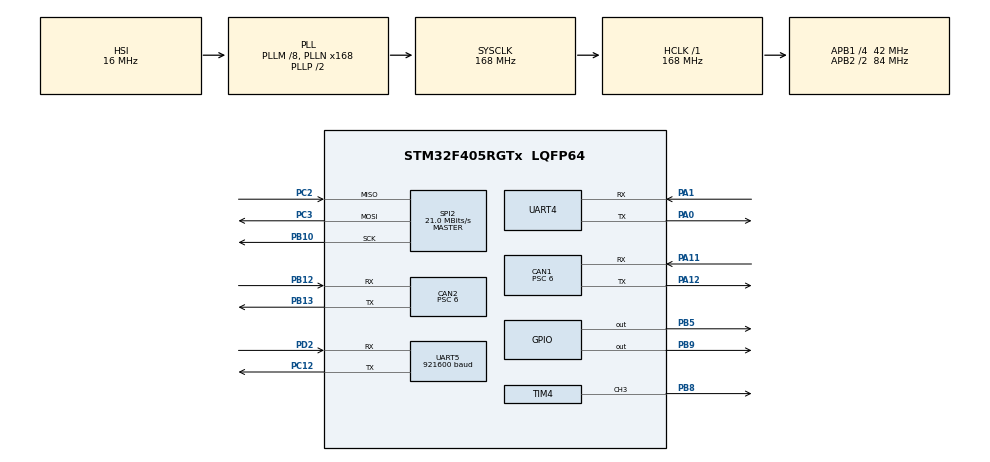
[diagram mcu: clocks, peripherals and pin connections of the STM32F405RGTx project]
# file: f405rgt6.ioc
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CAN1.ABOM=ENABLE
CAN1.AWUM=ENABLE
CAN1.BS1=CAN_BS1_3TQ
CAN1.BS2=CAN_BS2_3TQ
CAN1.CalculateBaudRate=1000000
CAN1.CalculateTimeBit=1000
CAN1.CalculateTimeQuantum=142.85714285714286
CAN1.NART=ENABLE
CAN1.Prescaler=6
CAN2.BS1=CAN_BS1_3TQ
CAN2.BS2=CAN_BS2_3TQ
CAN2.CalculateBaudRate=1000000
CAN2.CalculateTimeBit=1000
CAN2.CalculateTimeQuantum=142.85714285714286
CAN2.Prescaler=6
Dma.Request0=TIM4_CH3
Dma.TIM4_CH3.0.Direction=DMA_MEMORY_TO_PERIPH
Dma.TIM4_CH3.0.FIFOMode=DMA_FIFOMODE_DISABLE
Dma.TIM4_CH3.0.Instance=DMA1_Stream7
Dma.TIM4_CH3.0.MemDataAlignment=DMA_MDATAALIGN_HALFWORD
Dma.TIM4_CH3.0.MemInc=DMA_MINC_ENABLE
Dma.TIM4_CH3.0.Mode=DMA_NORMAL
Dma.TIM4_CH3.0.PeriphDataAlignment=DMA_PDATAALIGN_HALFWORD
Dma.TIM4_CH3.0.PeriphInc=DMA_PINC_DISABLE
Dma.TIM4_CH3.0.Priority=DMA_PRIORITY_LOW
FREERTOS.Tasks01=defaultTask,-1,512,StartDefaultTask,Default,NULL,Dynamic,NULL,NULL;myMoveToBall,0,512,StartMoveToBall,Default,NULL,Dynamic,NULL,NULL;myGetBall,0,128,StartGetBall,Default,NULL,Dynamic,NULL,NULL;myReadyGetBall,0,128,StartReadyGetBall,Default,NULL,Dynamic,NULL,NULL;myStoreBall,0,256,StartStoreBall,Default,NULL,Dynamic,NULL,NULL;mySetM567,1,128,StartSetM567,Default,NULL,Dynamic,NULL,NULL;myPutBall1,0,128,StartPutBall1,Default,NULL,Dynamic,NULL,NULL;myPutBall2,0,128,StartPutBall2,Default,NULL,Dynamic,NULL,NULL;myGetBall1,0,128,StartGetBall1,Default,NULL,Dynamic,NULL,NULL;myGetBall2,0,128,StartGetBall2,Default,NULL,Dynamic,NULL,NULL;myJudge,1,128,StartJudge,Default,NULL,Dynamic,NULL,NULL;myReadyPos1,-3,128,StartReadyPos1,Default,NULL,Dynamic,NULL,NULL;myPointRun,0,128,StartPointRun,Default,NULL,Dynamic,NULL,NULL
Mcu.Family=STM32F4
Mcu.Name=STM32F405RGTx
Mcu.Package=LQFP64
NVIC.CAN1_RX0_IRQn=true\:5\:0\:true\:false\:true\:true\:true\:true\:true
NVIC.CAN1_SCE_IRQn=true\:5\:0\:true\:false\:true\:true\:true\:true\:true
NVIC.CAN2_RX1_IRQn=true\:5\:0\:false\:false\:true\:true\:true\:true\:true
NVIC.CAN2_SCE_IRQn=true\:5\:0\:false\:false\:true\:true\:true\:true\:true
NVIC.DMA1_Stream7_IRQn=true\:5\:0\:false\:false\:true\:true\:false\:true\:true
NVIC.PriorityGroup=NVIC_PRIORITYGROUP_4
NVIC.TIM3_IRQn=true\:15\:0\:false\:false\:true\:false\:false\:true\:true
NVIC.TIM6_DAC_IRQn=true\:5\:0\:false\:false\:true\:true\:true\:true\:true
NVIC.TIM8_TRG_COM_TIM14_IRQn=true\:5\:0\:true\:false\:true\:true\:true\:true\:true
NVIC.TIM8_UP_TIM13_IRQn=true\:5\:0\:false\:false\:true\:true\:true\:true\:true
NVIC.TimeBase=TIM3_IRQn
NVIC.TimeBaseIP=TIM3
NVIC.UART4_IRQn=true\:5\:0\:false\:false\:true\:true\:true\:true\:true
NVIC.UART5_IRQn=true\:5\:0\:false\:false\:true\:true\:true\:true\:true
PA0-WKUP.Mode=Asynchronous
PA0-WKUP.Signal=UART4_TX
PA1.Mode=Asynchronous
PA1.Signal=UART4_RX
PA11.Mode=CAN_Activate
PA11.Signal=CAN1_RX
PA12.Mode=CAN_Activate
PA12.Signal=CAN1_TX
PA13.Mode=Serial_Wire
PA13.Signal=SYS_JTMS-SWDIO
PA14.Mode=Serial_Wire
PA14.Signal=SYS_JTCK-SWCLK
PB10.Mode=Full_Duplex_Master
PB10.Signal=SPI2_SCK
PB12.Mode=CAN_Activate
PB12.Signal=CAN2_RX
PB13.Mode=CAN_Activate
PB13.Signal=CAN2_TX
PB5.Signal=GPIO_Output
PB8.Signal=S_TIM4_CH3
PB9.Signal=GPIO_Output
PC12.Mode=Asynchronous
PC12.Signal=UART5_TX
PC14-OSC32_IN.Mode=LSE-External-Oscillator
PC14-OSC32_IN.Signal=RCC_OSC32_IN
PC15-OSC32_OUT.Mode=LSE-External-Oscillator
PC15-OSC32_OUT.Signal=RCC_OSC32_OUT
PC2.Mode=Full_Duplex_Master
PC2.Signal=SPI2_MISO
PC3.Mode=Full_Duplex_Master
PC3.Signal=SPI2_MOSI
PD2.Mode=Asynchronous
PD2.Signal=UART5_RX
PH0-OSC_IN.Mode=HSE-External-Oscillator
PH0-OSC_IN.Signal=RCC_OSC_IN
PH1-OSC_OUT.Mode=HSE-External-Oscillator
PH1-OSC_OUT.Signal=RCC_OSC_OUT
ProjectManager.HeapSize=0x200
ProjectManager.StackSize=0x400
ProjectManager.TargetToolchain=MDK-ARM V5.32
RCC.48MHZClocksFreq_Value=84000000
RCC.AHBFreq_Value=168000000
RCC.APB1CLKDivider=RCC_HCLK_DIV4
RCC.APB1Freq_Value=42000000
RCC.APB1TimFreq_Value=84000000
RCC.APB2CLKDivider=RCC_HCLK_DIV2
RCC.APB2Freq_Value=84000000
RCC.APB2TimFreq_Value=168000000
RCC.CortexFreq_Value=168000000
RCC.HCLKFreq_Value=168000000
RCC.HSE_VALUE=25000000
RCC.HSI_VALUE=16000000
RCC.PLLM=8
RCC.PLLN=168
RCC.SYSCLKFreq_VALUE=168000000
RCC.SYSCLKSource=RCC_SYSCLKSOURCE_PLLCLK
RCC.VCOOutputFreq_Value=336000000
SH.S_TIM4_CH3.0=TIM4_CH3,PWM Generation3 CH3
SPI2.CalculateBaudRate=21.0 MBits/s
SPI2.Direction=SPI_DIRECTION_2LINES
SPI2.Mode=SPI_MODE_MASTER
SPI2.VirtualType=VM_MASTER
TIM13.Period=800
TIM13.Prescaler=42-1
TIM14.Period=300
TIM14.Prescaler=42-1
TIM4.Channel-PWM\ Generation3\ CH3=TIM_CHANNEL_3
TIM4.Period=105-1
UART4.VirtualMode=Asynchronous
UART5.BaudRate=921600
UART5.VirtualMode=Asynchronous
VP_FREERTOS_VS_CMSIS_V1.Mode=CMSIS_V1
VP_SYS_VS_tim3.Mode=TIM3
VP_TIM13_VS_ClockSourceINT.Mode=Enable_Timer
VP_TIM14_VS_ClockSourceINT.Mode=Enable_Timer
VP_TIM4_VS_ClockSourceINT.Mode=Internal
VP_TIM6_VS_ClockSourceINT.Mode=Enable_Timer
board=custom

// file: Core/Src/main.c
/* USER CODE BEGIN Header */
/**
  ******************************************************************************
  * @file           : main.c
  * @brief          : Main program body
  ******************************************************************************
  * @attention
  *
  * Copyright (c) 2024 STMicroelectronics.
  * All rights reserved.
  *
  * This software is licensed under terms that can be found in the LICENSE file
  * in the root directory of this software component.
  * If no LICENSE file comes with this software, it is provided AS-IS.
  *
  ******************************************************************************
  */
/* USER CODE END Header */
#include "main.h"
#include "cmsis_os.h"
#include "can.h"
#include "dma.h"
#include "spi.h"
#include "tim.h"
#include "usart.h"
#include "gpio.h"

/* USER CODE BEGIN Includes */
#include "mySerial.h"
#include "can_bsp.h"
#include "mycan_init.h"
#include "RM3508.h"
#include "rgb.h"
#include "ICM42688.h"
#include "Mecanum_wheel.h"
/* USER CODE END Includes */

void SystemClock_Config(void);
void MX_FREERTOS_Init(void);

int main(void)
{

  /* MCU Configuration--------------------------------------------------------*/

  /* Reset of all peripherals, Initializes the Flash interface and the Systick. */
  HAL_Init();

  /* Configure the system clock */
  SystemClock_Config();

  /* Initialize all configured peripherals */
  MX_GPIO_Init();
  MX_DMA_Init();
  MX_CAN1_Init();
  MX_CAN2_Init();
  MX_TIM14_Init();
  MX_TIM4_Init();
  MX_TIM6_Init();
  MX_UART5_Init();
  MX_UART4_Init();
  MX_SPI2_Init();
  MX_TIM13_Init();
  /* USER CODE BEGIN 2 */

//	printf("+++");
//	HAL_Delay(200);
//	printf("AT+CWMODE_DEF=2\r\n");
//	HAL_Delay(200);
//	printf("AT+CIPAP_DEF=\"192.168.111.111\"\r\n");
//	HAL_Delay(200);
//	printf("AT+CWSAP_DEF=\"ThingIsnotGroup\",\"11111111\",1,4\r\n");
//	HAL_Delay(200);
//	printf("AT+RFPOWER=100\r\n");
//	HAL_Delay(200);
//	printf("AT+SAVETRANSLINK=1,\"192.168.111.255\",8000,\"UDP\",8000\r\n");
//	HAL_Delay(200);
//	printf("AT+RST\r\n");
//	HAL_Delay(200);

	CAN_Init(&hcan1);
	CAN_Init(&hcan2);

	HAL_TIM_Base_Start_IT(&htim6);
	mySerial_Init();

	Test_Self_RGB();
//	printf("ready\n");

  /* USER CODE END 2 */

  /* Call init function for freertos objects (in freertos.c) */
  MX_FREERTOS_Init();

  /* Start scheduler */
  osKernelStart();

  /* We should never get here as control is now taken by the scheduler */
  /* Infinite loop */
  while (1)
  {

    /* USER CODE BEGIN 3 */

//		printf("speed,pos:%d,%d\n", RM3508_Get_Speed(1), RM3508_Get_Pos(1));
//		HAL_Delay(3);
//		ArrangeSerialList();

  }
  /* USER CODE END 3 */
}

void SystemClock_Config(void)
{
  RCC_OscInitTypeDef RCC_OscInitStruct = {0};
  RCC_ClkInitTypeDef RCC_ClkInitStruct = {0};

  /** Configure the main internal regulator output voltage
  */
  __HAL_RCC_PWR_CLK_ENABLE();
  __HAL_PWR_VOLTAGESCALING_CONFIG(PWR_REGULATOR_VOLTAGE_SCALE1);

  /** Initializes the RCC Oscillators according to the specified parameters
  * in the RCC_OscInitTypeDef structure.
  */
  RCC_OscInitStruct.OscillatorType = RCC_OSCILLATORTYPE_HSI;
  RCC_OscInitStruct.HSIState = RCC_HSI_ON;
  RCC_OscInitStruct.HSICalibrationValue = RCC_HSICALIBRATION_DEFAULT;
  RCC_OscInitStruct.PLL.PLLState = RCC_PLL_ON;
  RCC_OscInitStruct.PLL.PLLSource = RCC_PLLSOURCE_HSI;
  RCC_OscInitStruct.PLL.PLLM = 8;
  RCC_OscInitStruct.PLL.PLLN = 168;
  RCC_OscInitStruct.PLL.PLLP = RCC_PLLP_DIV2;
  RCC_OscInitStruct.PLL.PLLQ = 4;
  if (HAL_RCC_OscConfig(&RCC_OscInitStruct) != HAL_OK)
  {
    Error_Handler();
  }

  /** Initializes the CPU, AHB and APB buses clocks
  */
  RCC_ClkInitStruct.ClockType = RCC_CLOCKTYPE_HCLK|RCC_CLOCKTYPE_SYSCLK
                              |RCC_CLOCKTYPE_PCLK1|RCC_CLOCKTYPE_PCLK2;
  RCC_ClkInitStruct.SYSCLKSource = RCC_SYSCLKSOURCE_PLLCLK;
  RCC_ClkInitStruct.AHBCLKDivider = RCC_SYSCLK_DIV1;
  RCC_ClkInitStruct.APB1CLKDivider = RCC_HCLK_DIV4;
  RCC_ClkInitStruct.APB2CLKDivider = RCC_HCLK_DIV2;

  if (HAL_RCC_ClockConfig(&RCC_ClkInitStruct, FLASH_LATENCY_5) != HAL_OK)
  {
    Error_Handler();
  }
}

void HAL_TIM_PeriodElapsedCallback(TIM_HandleTypeDef *htim)
{
  if (htim->Instance == TIM3) {
    HAL_IncTick();
  }
  /* USER CODE BEGIN Callback 1 */

	Serial_TIM_Period_Callback(htim);

  /* USER CODE END Callback 1 */
}

void Error_Handler(void)
{
  __disable_irq();
  while (1)
  {
  }
}

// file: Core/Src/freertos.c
/* USER CODE BEGIN Header */
/**
  ******************************************************************************
  * File Name          : freertos.c
  * Description        : Code for freertos applications
  ******************************************************************************
  * @attention
  *
  * Copyright (c) 2024 STMicroelectronics.
  * All rights reserved.
  *
  * This software is licensed under terms that can be found in the LICENSE file
  * in the root directory of this software component.
  * If no LICENSE file comes with this software, it is provided AS-IS.
  *
  ******************************************************************************
  */
/* USER CODE END Header */

#include "FreeRTOS.h"
#include "task.h"
#include "main.h"
#include "cmsis_os.h"

/* USER CODE BEGIN Includes */
#include "mySerial.h"
#include "can_bsp.h"
#include "mycan_init.h"
#include "RM3508.h"
#include "rgb.h"
#include "ICM42688.h"
#include "Mecanum_wheel.h"
#include "arm_control.h"
#include "point_control.h"
//#include "TFminiPlus.h"
#include "run.h"
#include "math.h"

#include "tim.h"
/* USER CODE END Includes */

osThreadId defaultTaskHandle;
osThreadId myMoveToBallHandle;
osThreadId myGetBallHandle;
osThreadId myReadyGetBallHandle;
osThreadId myStoreBallHandle;
osThreadId mySetM567Handle;
osThreadId myPutBall1Handle;
osThreadId myPutBall2Handle;
osThreadId myGetBall1Handle;
osThreadId myGetBall2Handle;
osThreadId myJudgeHandle;
osThreadId myReadyPos1Handle;
osThreadId myPointRunHandle;

void StartDefaultTask(void const * argument);
void StartMoveToBall(void const * argument);
void StartGetBall(void const * argument);
void StartReadyGetBall(void const * argument);
void StartStoreBall(void const * argument);
void StartSetM567(void const * argument);
void StartPutBall1(void const * argument);
void StartPutBall2(void const * argument);
void StartGetBall1(void const * argument);
void StartGetBall2(void const * argument);
void StartJudge(void const * argument);
void StartReadyPos1(void const * argument);
void StartPointRun(void const * argument);

void MX_FREERTOS_Init(void); /* (MISRA C 2004 rule 8.1) */

/* GetIdleTaskMemory prototype (linked to static allocation support) */
void vApplicationGetIdleTaskMemory( StaticTask_t **ppxIdleTaskTCBBuffer, StackType_t **ppxIdleTaskStackBuffer, uint32_t *pulIdleTaskStackSize );

/* USER CODE BEGIN GET_IDLE_TASK_MEMORY */
static StaticTask_t xIdleTaskTCBBuffer;
static StackType_t xIdleStack[configMINIMAL_STACK_SIZE];

void vApplicationGetIdleTaskMemory( StaticTask_t **ppxIdleTaskTCBBuffer, StackType_t **ppxIdleTaskStackBuffer, uint32_t *pulIdleTaskStackSize )
{
  *ppxIdleTaskTCBBuffer = &xIdleTaskTCBBuffer;
  *ppxIdleTaskStackBuffer = &xIdleStack[0];
  *pulIdleTaskStackSize = configMINIMAL_STACK_SIZE;
  /* place for user code */
}
/* USER CODE END GET_IDLE_TASK_MEMORY */

void MX_FREERTOS_Init(void) {

  /* Create the thread(s) */
  /* definition and creation of defaultTask */
  osThreadDef(defaultTask, StartDefaultTask, osPriorityBelowNormal, 0, 512);
  defaultTaskHandle = osThreadCreate(osThread(defaultTask), NULL);

  /* definition and creation of myMoveToBall */
  osThreadDef(myMoveToBall, StartMoveToBall, osPriorityNormal, 0, 512);
  myMoveToBallHandle = osThreadCreate(osThread(myMoveToBall), NULL);

  /* definition and creation of myGetBall */
  osThreadDef(myGetBall, StartGetBall, osPriorityNormal, 0, 128);
  myGetBallHandle = osThreadCreate(osThread(myGetBall), NULL);

  /* definition and creation of myReadyGetBall */
  osThreadDef(myReadyGetBall, StartReadyGetBall, osPriorityNormal, 0, 128);
  myReadyGetBallHandle = osThreadCreate(osThread(myReadyGetBall), NULL);

  /* definition and creation of myStoreBall */
  osThreadDef(myStoreBall, StartStoreBall, osPriorityNormal, 0, 256);
  myStoreBallHandle = osThreadCreate(osThread(myStoreBall), NULL);

  /* definition and creation of mySetM567 */
  osThreadDef(mySetM567, StartSetM567, osPriorityAboveNormal, 0, 128);
  mySetM567Handle = osThreadCreate(osThread(mySetM567), NULL);

  /* definition and creation of myPutBall1 */
  osThreadDef(myPutBall1, StartPutBall1, osPriorityNormal, 0, 128);
  myPutBall1Handle = osThreadCreate(osThread(myPutBall1), NULL);

  /* definition and creation of myPutBall2 */
  osThreadDef(myPutBall2, StartPutBall2, osPriorityNormal, 0, 128);
  myPutBall2Handle = osThreadCreate(osThread(myPutBall2), NULL);

  /* definition and creation of myGetBall1 */
  osThreadDef(myGetBall1, StartGetBall1, osPriorityNormal, 0, 128);
  myGetBall1Handle = osThreadCreate(osThread(myGetBall1), NULL);

  /* definition and creation of myGetBall2 */
  osThreadDef(myGetBall2, StartGetBall2, osPriorityNormal, 0, 128);
  myGetBall2Handle = osThreadCreate(osThread(myGetBall2), NULL);

  /* definition and creation of myJudge */
  osThreadDef(myJudge, StartJudge, osPriorityAboveNormal, 0, 128);
  myJudgeHandle = osThreadCreate(osThread(myJudge), NULL);

  /* definition and creation of myReadyPos1 */
  osThreadDef(myReadyPos1, StartReadyPos1, osPriorityIdle, 0, 128);
  myReadyPos1Handle = osThreadCreate(osThread(myReadyPos1), NULL);

  /* definition and creation of myPointRun */
  osThreadDef(myPointRun, StartPointRun, osPriorityNormal, 0, 128);
  myPointRunHandle = osThreadCreate(osThread(myPointRun), NULL);

}

void StartDefaultTask(void const * argument)
{
  /* USER CODE BEGIN StartDefaultTask */
//	vTaskSuspend(defaultTaskHandle); //测试用暂停，正式记得注释
	double start_m[3];	//巡线起始位置
	double target_m[3]; //巡线结束位置

  /* Infinite loop */
  for(;;)
  {
		//底盘标志判断
		if(mode_flag == TYPICAL && point_flag == 0)
		{
			input_motion(move_row, move_pitch, around_row);
		}
		else if(mode_flag == TEST)
		{
			triangle();
			mode_flag = TYPICAL;
		}
		else if(mode_flag == LEFT)
		{
			area_flag = LEFT;
			arm_flag = ARM_NORMAL;
			printf("%c%c%c",SRART_CHAR1, 0x01, END_CHAR);
			osDelay(100);
			printf("%c%c%c",SRART_CHAR2, 0x01, END_CHAR);
			osDelay(100);
			start_left(); //左场启动
//			Mec_Delay(2000);
			vTaskResume(myReadyGetBallHandle); //机器臂启动运行到预备夹球位置
			vTaskResume(myMoveToBallHandle);

			//开始沿线走代码
			start_m[0] = 3.85;start_m[1] = 0.78;start_m[2] = 0;	//巡线起始位置
			target_m[0] = 0.74;target_m[1] = 0.78;target_m[2] = 0;	//巡线结束位置
			current_target_m_main[0] = start_m[0];
			current_target_m_main[1] = start_m[1];
			while(1)
			{
				if(move_from_to(start_m, target_m, 0.003, current_target_m_main)) break;
				if(mode_flag == TYPICAL) break;	//手动切出
				if(ball_cnt == 6 && go_get_ball == 0) break; //球取完退出
				osDelay(1);
			}
			if(mode_flag != TYPICAL && ball_cnt < 6) //没收到最后一个球的信息就把最后一个球夹走
			{
				osDelay(10);
				while(arm_mode != READY) osDelay(10);
				osDelay(10);
				arm_mode = BUSY; //此时还没夹到球
				vTaskResume(myGetBallHandle);
				osDelay(10);
				while(arm_mode == BUSY) osDelay(10); //等待夹到球
			}
			mode_flag = TYPICAL;
			vTaskSuspend(myMoveToBallHandle);
		}
		else if(mode_flag == RIGHT)
		{
			area_flag = RIGHT;
			arm_flag = ARM_NORMAL;
			printf("%c%c%c",SRART_CHAR1, 0x00, END_CHAR);
			osDelay(100);
			printf("%c%c%c",SRART_CHAR2, 0x01, END_CHAR);
			osDelay(100);
			start_right(); //右场启动
			vTaskResume(myReadyGetBallHandle); //机器臂启动运行到预备夹球位置
			vTaskResume(myMoveToBallHandle);

			start_m[0] = 1.63;start_m[1] = 0.78;start_m[2] = 0;	//巡线起始位置
			target_m[0] = 4.88;target_m[1] = 0.78;target_m[2] = 0;	//巡线结束位置
			current_target_m_main[0] = start_m[0];
			current_target_m_main[1] = start_m[1];
			while(1)
			{
				if(move_from_to(start_m, target_m, 0.003, current_target_m_main)) break;
				if(mode_flag == TYPICAL) break;		//手动切出
				if(ball_cnt == 6 && go_get_ball == 0) break; //球取完退出
				osDelay(1);
			}
			if(mode_flag != TYPICAL && ball_cnt < 6) //没收到最后一个球的信息就把最后一个球夹走
			{
				osDelay(10);
				while(arm_mode != READY) osDelay(10);
				osDelay(10);
				arm_mode = BUSY; //此时还没夹到球
				vTaskResume(myGetBallHandle);
				osDelay(10);
				while(arm_mode == BUSY) osDelay(10); //等待夹到球
			}
			mode_flag = TYPICAL;
			vTaskSuspend(myMoveToBallHandle);
		}

		osDelay(1);
  }
  /* USER CODE END StartDefaultTask */
}

void StartMoveToBall(void const * argument)
{
  /* USER CODE BEGIN StartMoveToBall */
	vTaskSuspend(myMoveToBallHandle);
	double start_m[3];
	double target_m[3];

  /* Infinite loop */
  for(;;)
  {
		if(go_get_ball)
		{
			//挂起主巡线
			vTaskSuspend(defaultTaskHandle);
			//停车
			Mec_Delay(500);

			//判断开场方向

			//左场
			if(mode_flag == LEFT)
			{
				//前往夹球位置
				target_m[0] = -0.25* ball_pos[ball_cnt-go_get_ball] + 3.74; target_m[1] = 0.78; target_m[2] = 0;		//这里替换成夹球位置
				for(int i=0;i<30;)
				{
					if(move_to(target_m)) i++;
					if(mode_flag == TYPICAL) break;		//手动切出
					osDelay(1);
				}
				Mec_Delay(500);

				//夹球
				if(mode_flag == LEFT){
					osDelay(10);
					while(arm_mode != READY) osDelay(10);
					osDelay(10);
					arm_mode = BUSY; //此时还没夹到球
					vTaskResume(myGetBallHandle);
					osDelay(10);
					while(arm_mode == BUSY) osDelay(10); //等待夹到球
				}

				//更新主巡线继续位置
				current_target_m_main[0] = -0.25* ball_pos[ball_cnt-go_get_ball] + 3.74;
				current_target_m_main[1] = 0.78;
			}

			//右场
			else if(mode_flag == RIGHT)
			{
				target_m[0] = 0.25* ball_pos[ball_cnt-go_get_ball] + 1.88; target_m[1] = 0.78; target_m[2] = 0;		//这里替换成夹球位置
//				if(ball_pos[ball_cnt-go_get_ball] <= 2){
//					target_m[0] = 0.25* ball_pos[ball_cnt-go_get_ball] + 1.80; target_m[1] = 0.78; target_m[2] = 0;		//这里替换成夹球位置
//				}
//				else{
//					target_m[0] = 0.25* ball_pos[ball_cnt-go_get_ball] + 1.85; target_m[1] = 0.78; target_m[2] = 0;		//这里替换成夹球位置
//				}
				for(int i=0;i<30;)
				{
					if(move_to(target_m)) i++;
					if(mode_flag == TYPICAL) break;		//手动切出
					osDelay(1);
				}
				Mec_Delay(500);

				//夹球
				if(mode_flag == RIGHT){
					osDelay(10);
					while(arm_mode != READY) osDelay(10);
					osDelay(10);
					arm_mode = BUSY; //此时还没夹到球
					vTaskResume(myGetBallHandle);
					osDelay(10);
					while(arm_mode == BUSY) osDelay(10); //等待夹到球
				}

				//更新主巡线继续位置
				current_target_m_main[0] = 0.25* ball_pos[ball_cnt-go_get_ball] + 1.88;
				current_target_m_main[1] = 0.78;
			}
			//恢复主寻线
			if(--go_get_ball == 0)
				vTaskResume(defaultTaskHandle);
		}
    osDelay(1);
  }
  /* USER CODE END StartMoveToBall */
}

void StartGetBall(void const * argument)
{
  /* USER CODE BEGIN StartGetBall */

	//测试用代码
//	int l=0;

  /* Infinite loop */
  for(;;)
  {
		//测试用代码
//		osDelay(5000);
//		if(l++ == 6) vTaskSuspend(myGetBallHandle);
//		vTaskSuspend(myReadyGetBallHandle);

		vTaskSuspend(myGetBallHandle); //暂停任务，等待唤醒 //测试时注释

		vTaskSuspend(myReadyGetBallHandle); //挂起机械臂预备位置任务

		//这里是控制机械臂夹球的代码
		M5_Pos = -90 * 1638.4; //抓取方向电机
		osDelay(10);
		while(1) //循环控制
		{
			if(fabs(M3508_Pos_Pid[4].Err) <= 10) //到达位置跳出
				break;

			osDelay(1);
		}

		M6_Pos = 164 * 1297; //大臂电机抓取位置
		M7_Pos = 50 * 1638.4; //小臂电机
		osDelay(10);
		while(1) //循环控制
		{
			if(fabs(M3508_Pos_Pid[5].Err) <= 10 && fabs(M3508_Pos_Pid[6].Err) <= 10) //到达位置跳出
				break;

			osDelay(1);
		}

		//控制气缸夹球
		HAL_GPIO_WritePin(GPIOB, GPIO_PIN_5, GPIO_PIN_SET);
		osDelay(500);

		//抬起机械臂
		//将大小臂抬起
		M6_Pos = 80 * 1297; //大臂电机
		M7_Pos = 100 * 1638.4; //小臂电机
		osDelay(10);
		while(1){
			if(fabs(M3508_Pos_Pid[5].Err) <= 10 && fabs(M3508_Pos_Pid[6].Err) <= 10) break; //判断跳出
			osDelay(1);
		}

		arm_mode = FREE; //夹完球更改标签，可以开始返回巡航位置
		vTaskResume(myStoreBallHandle); //存球

    osDelay(1);
  }
  /* USER CODE END StartGetBall */
}

void StartReadyGetBall(void const * argument)
{
  /* USER CODE BEGIN StartReadyGetBall */

	vTaskSuspend(myReadyGetBallHandle); //测试时注释

  /* Infinite loop */
  for(;;)
  {
		//移动机械臂
		M6_Pos = 80 * 1297; //大臂电机
		M7_Pos = 50 * 1638.4; //小臂电机
		osDelay(5);
		if(fabs(M3508_Pos_Pid[6].Err) <= 10 && fabs(M3508_Pos_Pid[7].Err) <= 10)
		{
			M5_Pos = -90 * 1638.4; //抓取方向电机
			osDelay(5);
			if(fabs(M3508_Pos_Pid[5].Err) <= 10 && fabs(M3508_Pos_Pid[6].Err) <= 10 && fabs(M3508_Pos_Pid[7].Err) <= 10 && arm_mode == FREE)
				arm_mode = READY; //标志机械臂已准备
		}

    osDelay(1);
  }
  /* USER CODE END StartReadyGetBall */
}

void StartStoreBall(void const * argument)
{
  /* USER CODE BEGIN StartStoreBall */
	uint8_t store_ball_num = 0; //记录存储的球数，以决策球要放在哪

  /* Infinite loop */
  for(;;)
  {
		vTaskSuspend(myStoreBallHandle);

		//测试程序
//		if(store_ball_num == 1) store_ball_num++;

		if(store_ball_num == 0){
			//移动到1号框
			M5_Pos = 144 * 1638.4; //抓取方向电机
			osDelay(5);
			while(1) //循环控制
			{
				if(fabs(M3508_Pos_Pid[4].Err) <= 10) //到达位置跳出
					break;

				osDelay(1);
			}

			M6_Pos = 133 * 1297; //大臂电机下降
			M7_Pos = 58 * 1638.4; //小臂电机
			osDelay(5);
			while(1) //循环控制
			{
				if(fabs(M3508_Pos_Pid[5].Err) <= 10 && fabs(M3508_Pos_Pid[6].Err) <= 10) //到达位置跳出
					break;

				osDelay(1);
			}

			osDelay(800);
			//控制气缸松开夹子
			HAL_GPIO_WritePin(GPIOB, GPIO_PIN_5, GPIO_PIN_RESET);
			osDelay(700);

			//等待后夹子移动到预备位置
			vTaskResume(myReadyGetBallHandle);

		}
		else if(store_ball_num == 1){
			//移动到2号框
			M5_Pos = 110 * 1638.4; //抓取方向电机
			osDelay(5);
			while(1) //循环控制
			{
				if(fabs(M3508_Pos_Pid[4].Err) <= 10) //到达位置跳出
					break;

				osDelay(1);
			}

			M7_Pos = 25 * 1638.4; //小臂电机下降
			osDelay(5);
			while(1) //循环控制
			{
				if(fabs(M3508_Pos_Pid[6].Err) <= 10) //到达位置跳出
					break;

				osDelay(1);
			}

			M6_Pos = 148 * 1297; //大臂电机下降
			M7_Pos = 85 * 1638.4; //小臂电机前伸
			osDelay(5);
			while(1) //循环控制
			{
				if(fabs(M3508_Pos_Pid[5].Err) <= 10 && fabs(M3508_Pos_Pid[6].Err) <= 10) //到达位置跳出
					break;

				osDelay(1);
			}

			osDelay(300);
			//控制气缸松开夹子
			HAL_GPIO_WritePin(GPIOB, GPIO_PIN_5, GPIO_PIN_RESET);
			osDelay(700);

			//等待后夹子移动到预备位置
			vTaskResume(myReadyGetBallHandle);
		}
		else if(store_ball_num == 2){
			//移动到3号框
			M5_Pos = 124 * 1638.4; //抓取方向电机
			osDelay(5);
			while(1) //循环控制
			{
				if(fabs(M3508_Pos_Pid[4].Err) <= 10) //到达位置跳出
					break;

				osDelay(1);
			}

			M6_Pos = 112 * 1297; //大臂电机下降
			M7_Pos = 15 * 1638.4; //小臂电机下降
			osDelay(5);
			while(1) //循环控制
			{
				if(fabs(M3508_Pos_Pid[5].Err) <= 10 && fabs(M3508_Pos_Pid[6].Err) <= 10) //到达位置跳出
					break;

				osDelay(1);
			}

			osDelay(300);
			//控制气缸松开夹子
			HAL_GPIO_WritePin(GPIOB, GPIO_PIN_5, GPIO_PIN_RESET);
			osDelay(700);

			//等待后夹子移动到预备位置
			vTaskResume(myReadyGetBallHandle);
		}
		else if(store_ball_num == 3){
			//移动到4号框
			M5_Pos = 84 * 1638.4; //抓取方向电机
			osDelay(5);
			while(1) //循环控制
			{
				if(fabs(M3508_Pos_Pid[4].Err) <= 10) //到达位置跳出
					break;

				osDelay(1);
			}

			M7_Pos = 28 * 1638.4; //小臂电机下降
			osDelay(5);
			while(1) //循环控制
			{
				if(fabs(M3508_Pos_Pid[6].Err) <= 10) //到达位置跳出
					break;

				osDelay(1);
			}

			M6_Pos = 117 * 1297; //大臂电机下降
			M7_Pos = 30 * 1638.4; //小臂电机下降
			osDelay(5);
			while(1) //循环控制
			{
				if(fabs(M3508_Pos_Pid[5].Err) <= 10 && fabs(M3508_Pos_Pid[6].Err) <= 10) //到达位置跳出
					break;

				osDelay(1);
			}

			osDelay(300);
			//控制气缸松开夹子
			HAL_GPIO_WritePin(GPIOB, GPIO_PIN_5, GPIO_PIN_RESET);
			osDelay(700);

			//等待后夹子移动到预备位置
			vTaskResume(myReadyGetBallHandle);
		}
		else if(store_ball_num == 4){
			//移动到5号框
			M5_Pos = -183 * 1638.4; //抓取方向电机
			osDelay(5);
			while(1) //循环控制
			{
				if(fabs(M3508_Pos_Pid[4].Err) <= 10) //到达位置跳出
					break;

				osDelay(1);
			}

			M6_Pos = 125 * 1297; //大臂电机
			M7_Pos = 30 * 1638.4; //小臂电机
			osDelay(5);
			while(1) //循环控制
			{
				if(fabs(M3508_Pos_Pid[5].Err) <= 10 && fabs(M3508_Pos_Pid[6].Err) <= 10) //到达位置跳出
					break;

				osDelay(1);
			}

			osDelay(300);
			//控制气缸松开夹子
			HAL_GPIO_WritePin(GPIOB, GPIO_PIN_5, GPIO_PIN_RESET);
			osDelay(700);

			//等待后夹子移动到预备位置
			vTaskResume(myReadyGetBallHandle);
		}
		else if(store_ball_num == 5){
			//最后一个球，机械臂直接收起休眠
			vTaskResume(myReadyGetBallHandle);
		}
		store_ball_num++; //存球计数加一

    osDelay(1);
  }
  /* USER CODE END StartStoreBall */
}

void StartSetM567(void const * argument)
{
  /* USER CODE BEGIN StartSetM567 */

	//测试用代码
//	vTaskSuspend(mySetM567Handle);

	RM3508_Set_NowPos(5, 2);
	RM3508_Set_NowPos(6, 0);
	RM3508_Set_NowPos(7, 0);

  /* Infinite loop */
  for(;;)
  {
		if(arm_flag  != ARM_NONE){
			RM3508_Set_Pos(M5_Pos, 5); //抓取方向电机
			RM3508_Set_Pos(M6_Pos, 6); //大臂电机
			RM3508_Set_Pos(M7_Pos, 7); //小臂电机
		}
		else{
			RM3508_Set_I(0, 5); //抓取方向电机
			RM3508_Set_I(0, 6); //大臂电机
			RM3508_Set_I(0, 7); //小臂电机
		}

    osDelay(1);
  }
  /* USER CODE END StartSetM567 */
}

void StartPutBall1(void const * argument)
{
  /* USER CODE BEGIN StartPutBall1 */
  /* Infinite loop */
  for(;;)
  {
		vTaskSuspend(myPutBall1Handle); //暂停任务，等待唤醒
		//机械臂放球
		M5_Pos = -90 * 1638.4; //抓取方向电机
    M6_Pos = M6_PUT_1 * 1297; //大臂电机抓取位置
    M7_Pos = M7_PUT_1 * 1638.4; //小臂电机
		osDelay(5);
		while(1)
		{
				if(fabs(M3508_Pos_Pid[4].Err) <= 10 && fabs(M3508_Pos_Pid[5].Err) <= 10 && fabs(M3508_Pos_Pid[6].Err) <= 10) //到达位置跳出
					break;
				if(STOP_FLAG == 1)
					{
						break;
						STOP_FLAG = 0;
					}
				osDelay(1);
		 }
		osDelay(300);
		HAL_GPIO_WritePin (GPIOB ,GPIO_PIN_5 ,0);//电磁阀打开放球
		osDelay(700);
		if(adjust){
			vTaskResume(myReadyGetBallHandle);//预备位置
			PUT_BALL_1 = 0;
			adjust = 0;
		}
    osDelay(1);
  }
  /* USER CODE END StartPutBall1 */
}

void StartPutBall2(void const * argument)
{
  /* USER CODE BEGIN StartPutBall2 */
  /* Infinite loop */
  for(;;)
  {
    vTaskSuspend(myPutBall2Handle); //暂停任务，等待唤醒
		//机械臂放球
		M5_Pos = M5_PUT_2 * 1638.4; //抓取方向电机
    M6_Pos = M6_PUT_2 * 1297; //大臂电机抓取位置
    M7_Pos = M7_PUT_2 * 1638.4; //小臂电机
		osDelay(5);
		while(1)
		{
				if(fabs(M3508_Pos_Pid[4].Err) <= 10 && fabs(M3508_Pos_Pid[5].Err) <= 10 && fabs(M3508_Pos_Pid[6].Err) <= 10) //到达位置跳出
					break;
				if(STOP_FLAG == 1)
					{
						STOP_FLAG = 0;
						break;
					}
				osDelay(1);
		}
		osDelay(300);
		HAL_GPIO_WritePin (GPIOB ,GPIO_PIN_5 ,0);//电磁阀打开放球
		osDelay(700);
		vTaskResume(myReadyGetBallHandle);//预备位置
		PUT_BALL_2 = 0;
    osDelay(1);
  }
  /* USER CODE END StartPutBall2 */
}

void StartGetBall1(void const * argument)
{
  /* USER CODE BEGIN StartGetBall1 */
  /* Infinite loop */
  for(;;)
  {
    vTaskSuspend(myGetBall1Handle); //暂停任务，等待唤醒
		//机械臂放球
		M5_Pos = -90 * 1638.4; //抓取方向电机
    M6_Pos = M6_GET_1 * 1297; //大臂电机抓取位置
    M7_Pos = M7_GET_1 * 1638.4; //小臂电机
		osDelay(5);
		while(1)
		{
				if(fabs(M3508_Pos_Pid[4].Err) <= 10 && fabs(M3508_Pos_Pid[5].Err) <= 10 && fabs(M3508_Pos_Pid[6].Err) <= 10) //到达位置跳出
					break;
				if(STOP_FLAG == 1)
					{
						break;
						STOP_FLAG = 0;
					}
				osDelay(1);
		 }
		osDelay(300);
		HAL_GPIO_WritePin (GPIOB ,GPIO_PIN_5 ,1);//电磁阀打开放球
		osDelay(700);
		vTaskResume(myReadyPos1Handle);//预备位置
		GET_BALL_1 = 0;
    osDelay(1);
  }
  /* USER CODE END StartGetBall1 */
}

void StartGetBall2(void const * argument)
{
  /* USER CODE BEGIN StartGetBall2 */
  /* Infinite loop */
  for(;;)
  {
    vTaskSuspend(myGetBall2Handle); //暂停任务，等待唤醒
		//机械臂放球
			//第一个球
			if(BOX == 5)
			{
			//先转方向电机
			M5_Pos = M5_GET1_2 * 1638.4; //抓取方向电机
			osDelay (5);
			while(1)
			{
					if(fabs(M3508_Pos_Pid[4].Err) <= 10 ) //到达位置跳出
						break;
					if(STOP_FLAG == 1)
					{
						break;
						STOP_FLAG = 0;
					}
					osDelay(1);
		  }

			M6_Pos = M6_GET1_2 * 1297; //大臂电机抓取位置
			M7_Pos = M7_GET1_2 * 1638.4; //小臂电机
			osDelay (5);
			while(1)
			{
					if(fabs(M3508_Pos_Pid[5].Err) <= 10 && fabs(M3508_Pos_Pid[6].Err) <= 10) //到达位置跳出
						break;
					if(STOP_FLAG == 1)
					{
						break;
						STOP_FLAG = 0;
					}
					osDelay(1);
		  }

			osDelay(300);
			HAL_GPIO_WritePin (GPIOB ,GPIO_PIN_5 ,1);//电磁阀关闭抓球
			osDelay(700);
		  }

			//第二个球
			if(BOX == 4)
			{
			//先转方向电机
			M5_Pos = M5_GET2_2 * 1638.4; //抓取方向电机
			osDelay (5);
			while(1)
			{
					if(fabs(M3508_Pos_Pid[4].Err) <= 10 ) //到达位置跳出
						break;
					if(STOP_FLAG == 1)
					{
						break;
						STOP_FLAG = 0;
					}
					osDelay(1);
		  }

			M6_Pos = M6_GET2_2 * 1297; //大臂电机抓取位置
			M7_Pos = M7_GET2_2 * 1638.4; //小臂电机
			osDelay (5);
			while(1)
			{
					if(fabs(M3508_Pos_Pid[5].Err) <= 10 && fabs(M3508_Pos_Pid[6].Err) <= 10) //到达位置跳出
						break;
					if(STOP_FLAG == 1)
					{
						break;
						STOP_FLAG = 0;
					}
					osDelay(1);
		  }

			osDelay(300);
			HAL_GPIO_WritePin (GPIOB ,GPIO_PIN_5 ,1);//电磁阀关闭抓球
			osDelay(700);
		  }

			//第三个球
			if(BOX == 3)
			{
			//先转方向电机
			M5_Pos = M5_GET3_2 * 1638.4; //抓取方向电机
			osDelay (5);
			while(1)
			{
					if(fabs(M3508_Pos_Pid[4].Err) <= 10 ) //到达位置跳出
						break;
					if(STOP_FLAG == 1)
					{
						break;
						STOP_FLAG = 0;
					}
					osDelay(1);
		  }

			M7_Pos = M7_GET3_2 * 1638.4; //小臂电机
			osDelay (5);
			while(1)
			{
					if(  fabs(M3508_Pos_Pid[6].Err) <= 10) //到达位置跳出
						break;
					if(STOP_FLAG == 1)
					{
						break;
						STOP_FLAG = 0;
					}
					osDelay(1);
		  }

			M6_Pos = M6_GET3_2 * 1297; //大臂电机抓取位置
			osDelay (5);
			while(1)
			{
					if( fabs(M3508_Pos_Pid[5].Err) <= 10) //到达位置跳出
						break;
					if(STOP_FLAG == 1)
					{
						break;
						STOP_FLAG = 0;
					}
					osDelay(1);
		  }

			osDelay(300);
			HAL_GPIO_WritePin (GPIOB ,GPIO_PIN_5 ,1);//电磁阀关闭抓球
			osDelay(700);
		  }

			//第四个球
			if(BOX == 2)
			{
			//先转方向电机
			M5_Pos = M5_GET4_2 * 1638.4; //抓取方向电机
			osDelay (5);
			while(1)
			{
					if(fabs(M3508_Pos_Pid[4].Err) <= 10 ) //到达位置跳出
						break;
					if(STOP_FLAG == 1)
					{
						break;
						STOP_FLAG = 0;
					}
					osDelay(1);
		  }

			M6_Pos = M6_GET4_2 * 1297; //大臂电机抓取位置
			M7_Pos = M7_GET4_2 * 1638.4; //小臂电机
			osDelay (5);
			while(1)
			{
					if(fabs(M3508_Pos_Pid[5].Err) <= 10 && fabs(M3508_Pos_Pid[6].Err) <= 10) //到达位置跳出
						break;
					if(STOP_FLAG == 1)
					{
						break;
						STOP_FLAG = 0;
					}
					osDelay(1);
		  }

			osDelay(300);
			HAL_GPIO_WritePin (GPIOB ,GPIO_PIN_5 ,1);//电磁阀关闭抓球
			osDelay(700);

			//收臂, 先收大臂
			M6_Pos = M6_READY * 1297; //大臂电机抓取位置
			osDelay(5);
			while(1)
			{
			if(fabs(M3508_Pos_Pid[5].Err) <= 10)
				break;
			  if(STOP_FLAG == 1)
				{
					break;
					STOP_FLAG = 0;
				}
				osDelay(1);
		  }
			//再收小臂和方向
			M5_Pos = M5_READY * 1297; //大臂电机抓取位置
			M7_Pos = M7_READY * 1638.4; //小臂电机
			osDelay (5);
			while(1)
			{
					if(fabs(M3508_Pos_Pid[4].Err) <= 10 && fabs(M3508_Pos_Pid[6].Err) <= 10) //到达位置跳出
						break;
					if(STOP_FLAG == 1)
					{
						break;
						STOP_FLAG = 0;
					}
					osDelay(1);
		  }

		  }

			//第五个球
			if(BOX == 1)
			{
			//先转方向电机
			M5_Pos = M5_GET5_2 * 1638.4; //抓取方向电机
			osDelay (5);
			while(1)
			{
					if(fabs(M3508_Pos_Pid[4].Err) <= 10 ) //到达位置跳出
						break;
					if(STOP_FLAG == 1)
					{
						break;
						STOP_FLAG = 0;
					}
					osDelay(1);
		  }

			M6_Pos = 110 * 1297;
	    M7_Pos = 33 *  1638.4;
			osDelay (5);
			while(1)
			{
					if(fabs(M3508_Pos_Pid[5].Err) <= 10 && fabs(M3508_Pos_Pid[6].Err) <= 10) //到达位置跳出
						break;
					if(STOP_FLAG == 1)
					{
						break;
						STOP_FLAG = 0;
					}
					osDelay(1);
		  }
			osDelay (500);
			M6_Pos = M6_GET5_2 * 1297; //大臂电机抓取位置
			M7_Pos = M7_GET5_2 * 1638.4; //小臂电机
			osDelay (5);
			while(1)
			{
					if( fabs(M3508_Pos_Pid[5].Err) <= 10 && fabs(M3508_Pos_Pid[6].Err) <= 10) //到达位置跳出
						break;
					if(STOP_FLAG == 1)
					{
						break;
						STOP_FLAG = 0;
					}
					osDelay(1);
		  }

			osDelay(300);
			HAL_GPIO_WritePin (GPIOB ,GPIO_PIN_5 ,1);//电磁阀关闭抓球
			osDelay(700);

			M7_Pos = 150 *  1638.4;
			osDelay (5);
			while(1)
			{
					if( fabs(M3508_Pos_Pid[6].Err) <= 10) //到达位置跳出
						break;
					if(STOP_FLAG == 1)
					{
						break;
						STOP_FLAG = 0;
					}
					osDelay(1);

			M6_Pos = M6_READY * 1297; //大臂电机抓取位置
			M7_Pos = M7_READY * 1638.4; //小臂电机
			osDelay (5);
			while(1)
			{
					if( fabs(M3508_Pos_Pid[5].Err) <= 10 && fabs(M3508_Pos_Pid[6].Err) <= 10) //到达位置跳出
						break;
					if(STOP_FLAG == 1)
					{
						break;
						STOP_FLAG = 0;
					}
					osDelay(1);
		  }
		  }
		  }
		vTaskResume(myReadyGetBallHandle);//预备位置
		GET_BALL_2 = 0;
			BOX--;
			if(BOX == 0) BOX = 5;
    osDelay(1);
  }
  /* USER CODE END StartGetBall2 */
}

void StartJudge(void const * argument)
{
  /* USER CODE BEGIN StartJudge */
  /* Infinite loop */
  for(;;)
  {
		if(PUT_BALL_1)
		{
			PUT_BALL_2 = 0;
			GET_BALL_1 = 0;
			GET_BALL_2 = 0;
			vTaskSuspend(myReadyGetBallHandle);
			vTaskSuspend(myReadyGetBallHandle);
			vTaskResume(myPutBall1Handle);
		}
    if(PUT_BALL_2)
		{
			PUT_BALL_1 = 0;
			GET_BALL_1 = 0;
			GET_BALL_2 = 0;
			vTaskSuspend(myReadyGetBallHandle);
			vTaskSuspend(myReadyPos1Handle);
			vTaskResume(myPutBall2Handle);
		}
    if(GET_BALL_1)
		{
			PUT_BALL_1 = 0;
			PUT_BALL_2 = 0;
			GET_BALL_2 = 0;
			vTaskSuspend(myReadyGetBallHandle);
			vTaskSuspend(myReadyGetBallHandle);
			vTaskResume(myGetBall1Handle);
		}
		if(GET_BALL_2)
		{
			PUT_BALL_1 = 0;
			PUT_BALL_2 = 0;
			GET_BALL_1 = 0;
			vTaskSuspend(myReadyGetBallHandle);
			vTaskSuspend(myReadyGetBallHandle);
			vTaskResume(myGetBall2Handle);
		}
    osDelay(1);
  }
  /* USER CODE END StartJudge */
}

void StartReadyPos1(void const * argument)
{
  /* USER CODE BEGIN StartReadyPos1 */
	vTaskSuspend(myReadyPos1Handle); //暂停任务，等待唤醒
  /* Infinite loop */
  for(;;)
  {
		//机械臂预备位置
			 M5_Pos = M5_READY1 * 1638.4; //抓取方向电机
       M6_Pos = M6_READY1 * 1297; //大臂电机抓取位置
       M7_Pos = M7_READY1 * 1638.4; //小臂电机
       osDelay(1);
			 vTaskSuspend(myReadyGetBallHandle); //暂停任务，等待唤醒
  }
  /* USER CODE END StartReadyPos1 */
}

void StartPointRun(void const * argument)
{
  /* USER CODE BEGIN StartPointRun */
  /* Infinite loop */
  for(;;)
  {
		if(area_flag == LEFT)
		{
			switch(point_flag)
			{
				case 1:
					if(Robot_Pos_Move_PID_V2(&Path1_PID_31))
						point_flag = 0;
					break;
				case 2:
					if(Robot_Pos_Move_PID_V2(&Path1_PID_32))
						point_flag = 0;
					break;
				case 3:
					if(Robot_Pos_Move_PID_V2(&Path1_PID_33))
						point_flag = 0;
					break;
			}
		}
		else if(area_flag == RIGHT)
		{
			switch(point_flag)
			{
				case 1:
					if(Robot_Pos_Move_PID_V1(&Path_PID_31))
						point_flag = 0;
					break;
				case 2:
					if(Robot_Pos_Move_PID_V1(&Path_PID_32))
						point_flag = 0;
					break;
				case 3:
					if(Robot_Pos_Move_PID_V1(&Path_PID_33))
						point_flag = 0;
					break;
			}
		}

    osDelay(1);
  }
  /* USER CODE END StartPointRun */
}
